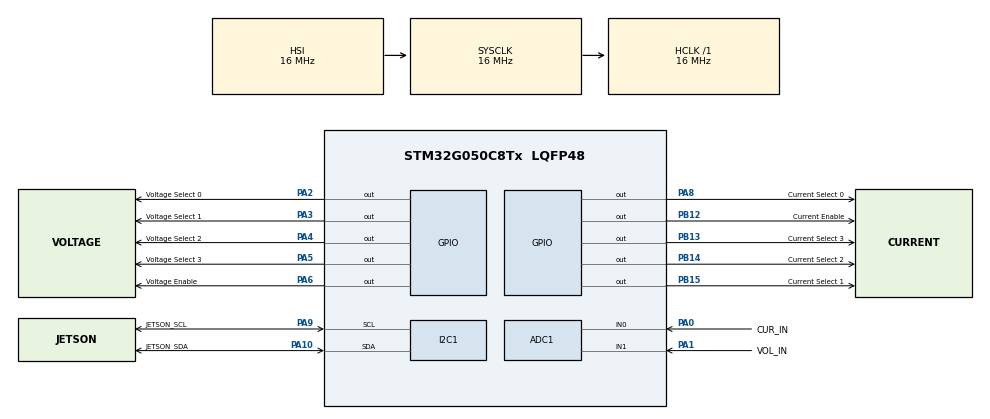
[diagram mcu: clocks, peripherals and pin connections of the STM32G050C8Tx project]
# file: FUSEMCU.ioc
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ADC1.Channel-0\#ChannelRegularConversion=ADC_CHANNEL_0
ADC1.NbrOfConversionFlag=1
ADC1.Rank-0\#ChannelRegularConversion=1
ADC1.SamplingTime-0\#ChannelRegularConversion=ADC_SAMPLINGTIME_COMMON_1
ADC1.SelectedChannel=ADC_CHANNEL_0|ADC_CHANNEL_1
ADC1.master=1
Dma.ADC1.0.Direction=DMA_PERIPH_TO_MEMORY
Dma.ADC1.0.EventEnable=DISABLE
Dma.ADC1.0.Instance=DMA1_Channel1
Dma.ADC1.0.MemDataAlignment=DMA_MDATAALIGN_HALFWORD
Dma.ADC1.0.MemInc=DMA_MINC_ENABLE
Dma.ADC1.0.Mode=DMA_CIRCULAR
Dma.ADC1.0.PeriphDataAlignment=DMA_PDATAALIGN_HALFWORD
Dma.ADC1.0.PeriphInc=DMA_PINC_DISABLE
Dma.ADC1.0.Polarity=HAL_DMAMUX_REQ_GEN_RISING
Dma.ADC1.0.Priority=DMA_PRIORITY_LOW
Dma.ADC1.0.RequestNumber=1
Dma.ADC1.0.SignalID=NONE
Dma.ADC1.0.SyncEnable=DISABLE
Dma.ADC1.0.SyncPolarity=HAL_DMAMUX_SYNC_NO_EVENT
Dma.ADC1.0.SyncRequestNumber=1
Dma.ADC1.0.SyncSignalID=NONE
Dma.Request0=ADC1
Mcu.Family=STM32G0
Mcu.Name=STM32G050C8Tx
Mcu.Package=LQFP48
NVIC.DMA1_Channel1_IRQn=true\:0\:0\:false\:false\:true\:false\:true\:true
PA0.GPIO_Label=CUR_IN
PA0.Mode=IN0
PA0.Signal=ADC1_IN0
PA1.GPIO_Label=VOL_IN
PA1.Mode=IN1
PA1.Signal=ADC1_IN1
PA10.GPIO_Label=JETSON_SDA
PA10.Mode=I2C
PA10.Signal=I2C1_SDA
PA13.Mode=Serial_Wire
PA13.Signal=SYS_SWDIO
PA14-BOOT0.Mode=Serial_Wire
PA14-BOOT0.Signal=SYS_SWCLK
PA2.GPIO_Label=Voltage Select 0
PA2.Signal=GPIO_Output
PA3.GPIO_Label=Voltage Select 1
PA3.Signal=GPIO_Output
PA4.GPIO_Label=Voltage Select 2
PA4.Signal=GPIO_Output
PA5.GPIO_Label=Voltage Select 3
PA5.Signal=GPIO_Output
PA6.GPIO_Label=Voltage Enable
PA6.Signal=GPIO_Output
PA8.GPIO_Label=Current Select 0
PA8.Signal=GPIO_Output
PA9.GPIO_Label=JETSON_SCL
PA9.Mode=I2C
PA9.Signal=I2C1_SCL
PB12.GPIO_Label=Current Enable
PB12.Signal=GPIO_Output
PB13.GPIO_Label=Current Select 3
PB13.Signal=GPIO_Output
PB14.GPIO_Label=Current Select 2
PB14.Signal=GPIO_Output
PB15.GPIO_Label=Current Select 1
PB15.Signal=GPIO_Output
ProjectManager.HeapSize=0x200
ProjectManager.StackSize=0x400
ProjectManager.TargetToolchain=STM32CubeIDE
RCC.AHBFreq_Value=16000000
RCC.CortexFreq_Value=16000000
RCC.EXTERNAL_CLOCK_VALUE=48000
RCC.HCLKFreq_Value=16000000
RCC.HSE_VALUE=8000000
RCC.HSI_VALUE=16000000
RCC.LSE_VALUE=32768
RCC.SYSCLKFreq_VALUE=16000000
RCC.VCOOutputFreq_Value=128000000
VP_SYS_VS_DBSignals.Mode=DisableDeadBatterySignals
board=custom

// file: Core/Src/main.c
/* USER CODE BEGIN Header */
/**
  ******************************************************************************
  * @file           : main.c
  * @brief          : Main program body
  ******************************************************************************
  * @attention
  *
  * <h2><center>&copy; Copyright (c) 2022 STMicroelectronics.
  * All rights reserved.</center></h2>
  *
  * This software component is licensed by ST under BSD 3-Clause license,
  * the "License"; You may not use this file except in compliance with the
  * License. You may obtain a copy of the License at:
  *                        opensource.org/licenses/BSD-3-Clause
  *
  ******************************************************************************
  */
/* USER CODE END Header */
#include "main.h"
#include "analog.h"

/* USER CODE BEGIN PM */

#define ANALOG_ENABLE

/* USER CODE END PM */

 ADC_HandleTypeDef hadc1;
DMA_HandleTypeDef hdma_adc1;

I2C_HandleTypeDef hi2c1;

/* USER CODE BEGIN PV */

#ifdef ANALOG_ENABLE

 enum {
 	VOLTAGE_0 = 0,
 	VOLTAGE_1 = 1,
 	VOLTAGE_2 = 2,
	VOLTAGE_3 = 3,
	VOLTAGE_4 = 4,
	VOLTAGE_5 = 5,
	VOLTAGE_6 = 6,
	VOLTAGE_7 = 7,
	VOLTAGE_8 = 8,
	VOLTAGE_9 = 9,
	VOLTAGE_10 = 10,
	VOLTAGE_11 = 11
 };

enum {
	CURRENT_0 = 0,
	CURRENT_1 = 1,
	CURRENT_2 = 2,
	CURRENT_3 = 3,
	CURRENT_4 = 4,
	CURRENT_5 = 5,
	CURRENT_6 = 6,
	CURRENT_7 = 7,
	CURRENT_8 = 8,
	CURRENT_9 = 9,
	CURRENT_10 = 10,
	CURRENT_11 = 11
};

Analog* voltage_channels[VOLTAGE_DEVICES];
Analog* current_channels[CURRENT_DEVICES];

// Voltage, Current Data
float vd[VOLTAGE_DEVICES];
float cd[CURRENT_DEVICES];

#endif

/* USER CODE END PV */

void SystemClock_Config(void);
static void MX_GPIO_Init(void);
static void MX_I2C1_Init(void);
static void MX_DMA_Init(void);
static void MX_ADC1_Init(void);
/* USER CODE BEGIN PFP */

#ifdef ANALOG_ENABLE

// EFFECTS: select analog channel
void select_analog_channel(const Analog* analog_device);

// EFFECTS: get analog data in the following format
// FORMAT: $CURRENT,<c0>,<c1>,<c2> and $VOLTAGE,<v0>,<v1>,<v2>
void get_analog_data();

// EFFECTS: send current data in the following format
// FORMAT: $CURRENT,<c0>,<c1>,<c2>
void send_current_data();

// EFFECTS: send voltage data in the following format
// FORMAT: $VOLTAGE,<v0>,<v1>,<v2>
void send_voltage_data();

#endif

/* USER CODE END PFP */

/* USER CODE BEGIN 0 */

#ifdef ANALOG_ENABLE

// EFFECTS: select voltage channel
// TODO: fix this for fuse
void select_voltage_channel(const Analog* analog_device) {
	HAL_GPIO_WritePin(Voltage_Select_0_GPIO_Port, Voltage_Select_0_Pin, analog_device->select_pins[0]); //v select 0
	HAL_GPIO_WritePin(Voltage_Select_1_GPIO_Port, Voltage_Select_1_Pin, analog_device->select_pins[1]); //v select 1
	HAL_GPIO_WritePin(Voltage_Select_2_GPIO_Port, Voltage_Select_2_Pin, analog_device->select_pins[2]); //v select 2
	HAL_GPIO_WritePin(Voltage_Select_3_GPIO_Port, Voltage_Select_3_Pin, analog_device->select_pins[3]); //v select 3
	HAL_GPIO_WritePin(Voltage_Enable_GPIO_Port, Voltage_Enable_Pin,  1); //ENABLE
}

// EFFECTS: select current channel
// TODO: fix this for fuse AAAAAAAAAAAAAAAAAAAAAAAAAAAAAAAAa
void select_current_channel(const Analog* analog_device) {
	HAL_GPIO_WritePin(Current_Enable_GPIO_Port, Current_Enable_Pin, analog_device->select_pins[0]); //c select 0
	HAL_GPIO_WritePin(Current_Select_3_GPIO_Port, Current_Select_3_Pin, analog_device->select_pins[1]); //c select 1
	HAL_GPIO_WritePin(Current_Select_2_GPIO_Port, Current_Select_2_Pin, analog_device->select_pins[2]); //c select 2
	HAL_GPIO_WritePin(Current_Select_1_GPIO_Port, Current_Select_1_Pin, analog_device->select_pins[3]); //c select 3
	HAL_GPIO_WritePin(Current_Select_0_GPIO_Port, Current_Select_0_Pin,  1); //ENABLE
}

// EFFECTS: get analog data in the following format
// FORMAT: $CURRENT,<c0>,<c1>,<c2> and $VOLTAGE,<v0>,<v1>,<v2>
void get_analog_data() {

    for (int i = 0; i < VOLTAGE_DEVICES; ++i) {
    	const Analog* analog_device = voltage_channels[i];
    	select_voltage_channel(analog_device);
    	vd[i] = get_voltage_data(analog_device);
	}

    for (int i = 0; i < CURRENT_DEVICES; ++i) {
    	const Analog* analog_device = current_channels[i];
    	select_current_channel(analog_device);
    	cd[i] = get_current_data(analog_device);
    }

}

// EFFECTS: send current data in the following format
// FORMAT: $CURRENT,<c0>,<c1>,<c2>
void send_current_data() {

	// TODO - verify that we are sending i2c messages properly
	// Total length of output of string $CURRENT,x,x,x
	uint8_t buffer[50] = "";

	sprintf((char *)buffer, "$CURRENT,%f,%f,%f\r\n",\
			cd[0], cd[1], cd[2], cd[3], \
			cd[4], cd[5], cd[6], cd[7], \
			cd[8], cd[9], cd[10], cd[11]);

	HAL_I2C_Slave_Seq_Transmit_IT(&hi2c1, buffer, sizeof(buffer), I2C_LAST_FRAME);
}

// EFFECTS: send analog data in the following format
// FORMAT: $VOLTAGE,<v0>,<v1>,<v2>
void send_voltage_data() {

	// TODO - verify that we are sending i2c messages properly
	// Total length of output of string $VOLTAGE,x,x,x
	uint8_t buffer[50] = "";

	sprintf((char *)buffer, "$VOLTAGE,%f,%f,%f\r\n",\
			vd[0], vd[1], vd[2], vd[3], \
			vd[4], vd[5], vd[6], vd[7], \
			vd[8], vd[9], vd[10], vd[11]);

	HAL_I2C_Slave_Seq_Transmit_IT(&hi2c1, buffer, sizeof(buffer), I2C_LAST_FRAME);
}

#endif

/* USER CODE END 0 */

int main(void)
{

  /* MCU Configuration--------------------------------------------------------*/

  /* Reset of all peripherals, Initializes the Flash interface and the Systick. */
  HAL_Init();

  /* USER CODE BEGIN Init */

#ifdef ANALOG_ENABLE

// The numbered parameters going into new_analog is the device number in binary
// ex: device 5 is 0,1,0,1
// Creates a new analog device for each voltage, current device
// Takes in device "id" into the function

for (int i = 0; i < 12; ++i) {
	current_channels[i] = new_analog(&hadc1, i | 0b1000, i | 0b0100, i | 0b0010, i | 0b0001);
	voltage_channels[i] = new_analog(&hadc1, i | 0b1000, i | 0b0100, i | 0b0010, i | 0b0001);
}

#endif

  /* USER CODE END Init */

  /* Configure the system clock */
  SystemClock_Config();

  /* Initialize all configured peripherals */
  MX_GPIO_Init();
  MX_I2C1_Init();
  MX_DMA_Init();
  MX_ADC1_Init();

  /* Infinite loop */
  while (1)
  {

    /* USER CODE BEGIN 3 */

	#ifdef ANALOG_ENABLE
		  get_analog_data();
		  send_current_data();
		  send_voltage_data();
	#endif

  }
  /* USER CODE END 3 */
}

void SystemClock_Config(void)
{
  RCC_OscInitTypeDef RCC_OscInitStruct = {0};
  RCC_ClkInitTypeDef RCC_ClkInitStruct = {0};

  /** Configure the main internal regulator output voltage
  */
  HAL_PWREx_ControlVoltageScaling(PWR_REGULATOR_VOLTAGE_SCALE1);

  /** Initializes the RCC Oscillators according to the specified parameters
  * in the RCC_OscInitTypeDef structure.
  */
  RCC_OscInitStruct.OscillatorType = RCC_OSCILLATORTYPE_HSI;
  RCC_OscInitStruct.HSIState = RCC_HSI_ON;
  RCC_OscInitStruct.HSIDiv = RCC_HSI_DIV1;
  RCC_OscInitStruct.HSICalibrationValue = RCC_HSICALIBRATION_DEFAULT;
  RCC_OscInitStruct.PLL.PLLState = RCC_PLL_NONE;
  if (HAL_RCC_OscConfig(&RCC_OscInitStruct) != HAL_OK)
  {
    Error_Handler();
  }

  /** Initializes the CPU, AHB and APB buses clocks
  */
  RCC_ClkInitStruct.ClockType = RCC_CLOCKTYPE_HCLK|RCC_CLOCKTYPE_SYSCLK
                              |RCC_CLOCKTYPE_PCLK1;
  RCC_ClkInitStruct.SYSCLKSource = RCC_SYSCLKSOURCE_HSI;
  RCC_ClkInitStruct.AHBCLKDivider = RCC_SYSCLK_DIV1;
  RCC_ClkInitStruct.APB1CLKDivider = RCC_HCLK_DIV1;

  if (HAL_RCC_ClockConfig(&RCC_ClkInitStruct, FLASH_LATENCY_0) != HAL_OK)
  {
    Error_Handler();
  }
}

static void MX_ADC1_Init(void)
{

  ADC_ChannelConfTypeDef sConfig = {0};

  /** Configure the global features of the ADC (Clock, Resolution, Data Alignment and number of conversion)
  */
  hadc1.Instance = ADC1;
  hadc1.Init.ClockPrescaler = ADC_CLOCK_SYNC_PCLK_DIV2;
  hadc1.Init.Resolution = ADC_RESOLUTION_12B;
  hadc1.Init.DataAlign = ADC_DATAALIGN_RIGHT;
  hadc1.Init.ScanConvMode = ADC_SCAN_DISABLE;
  hadc1.Init.EOCSelection = ADC_EOC_SINGLE_CONV;
  hadc1.Init.LowPowerAutoWait = DISABLE;
  hadc1.Init.LowPowerAutoPowerOff = DISABLE;
  hadc1.Init.ContinuousConvMode = DISABLE;
  hadc1.Init.NbrOfConversion = 1;
  hadc1.Init.ExternalTrigConv = ADC_SOFTWARE_START;
  hadc1.Init.ExternalTrigConvEdge = ADC_EXTERNALTRIGCONVEDGE_NONE;
  hadc1.Init.DMAContinuousRequests = DISABLE;
  hadc1.Init.Overrun = ADC_OVR_DATA_PRESERVED;
  hadc1.Init.SamplingTimeCommon1 = ADC_SAMPLETIME_1CYCLE_5;
  hadc1.Init.SamplingTimeCommon2 = ADC_SAMPLETIME_1CYCLE_5;
  hadc1.Init.OversamplingMode = DISABLE;
  hadc1.Init.TriggerFrequencyMode = ADC_TRIGGER_FREQ_HIGH;
  if (HAL_ADC_Init(&hadc1) != HAL_OK)
  {
    Error_Handler();
  }

  /** Configure Regular Channel
  */
  sConfig.Channel = ADC_CHANNEL_0;
  sConfig.Rank = ADC_REGULAR_RANK_1;
  sConfig.SamplingTime = ADC_SAMPLINGTIME_COMMON_1;
  if (HAL_ADC_ConfigChannel(&hadc1, &sConfig) != HAL_OK)
  {
    Error_Handler();
  }

}

static void MX_I2C1_Init(void)
{

  hi2c1.Instance = I2C1;
  hi2c1.Init.Timing = 0x00303D5B;
  hi2c1.Init.OwnAddress1 = 0;
  hi2c1.Init.AddressingMode = I2C_ADDRESSINGMODE_7BIT;
  hi2c1.Init.DualAddressMode = I2C_DUALADDRESS_DISABLE;
  hi2c1.Init.OwnAddress2 = 0;
  hi2c1.Init.OwnAddress2Masks = I2C_OA2_NOMASK;
  hi2c1.Init.GeneralCallMode = I2C_GENERALCALL_DISABLE;
  hi2c1.Init.NoStretchMode = I2C_NOSTRETCH_DISABLE;
  if (HAL_I2C_Init(&hi2c1) != HAL_OK)
  {
    Error_Handler();
  }

  /** Configure Analogue filter
  */
  if (HAL_I2CEx_ConfigAnalogFilter(&hi2c1, I2C_ANALOGFILTER_ENABLE) != HAL_OK)
  {
    Error_Handler();
  }

  /** Configure Digital filter
  */
  if (HAL_I2CEx_ConfigDigitalFilter(&hi2c1, 0) != HAL_OK)
  {
    Error_Handler();
  }

}

static void MX_DMA_Init(void)
{

  /* DMA controller clock enable */
  __HAL_RCC_DMA1_CLK_ENABLE();

  /* DMA interrupt init */
  /* DMA1_Channel1_IRQn interrupt configuration */
  HAL_NVIC_SetPriority(DMA1_Channel1_IRQn, 0, 0);
  HAL_NVIC_EnableIRQ(DMA1_Channel1_IRQn);

}

static void MX_GPIO_Init(void)
{
  GPIO_InitTypeDef GPIO_InitStruct = {0};

  /* GPIO Ports Clock Enable */
  __HAL_RCC_GPIOA_CLK_ENABLE();
  __HAL_RCC_GPIOB_CLK_ENABLE();

  /*Configure GPIO pin Output Level */
  HAL_GPIO_WritePin(GPIOA, Voltage_Select_0_Pin|Voltage_Select_1_Pin|Voltage_Select_2_Pin|Voltage_Select_3_Pin
                          |Voltage_Enable_Pin|Current_Select_0_Pin, GPIO_PIN_RESET);

  /*Configure GPIO pin Output Level */
  HAL_GPIO_WritePin(GPIOB, Current_Enable_Pin|Current_Select_3_Pin|Current_Select_2_Pin|Current_Select_1_Pin, GPIO_PIN_RESET);

  /*Configure GPIO pins : Voltage_Select_0_Pin Voltage_Select_1_Pin Voltage_Select_2_Pin Voltage_Select_3_Pin
                           Voltage_Enable_Pin Current_Select_0_Pin */
  GPIO_InitStruct.Pin = Voltage_Select_0_Pin|Voltage_Select_1_Pin|Voltage_Select_2_Pin|Voltage_Select_3_Pin
                          |Voltage_Enable_Pin|Current_Select_0_Pin;
  GPIO_InitStruct.Mode = GPIO_MODE_OUTPUT_PP;
  GPIO_InitStruct.Pull = GPIO_NOPULL;
  GPIO_InitStruct.Speed = GPIO_SPEED_FREQ_LOW;
  HAL_GPIO_Init(GPIOA, &GPIO_InitStruct);

  /*Configure GPIO pins : Current_Enable_Pin Current_Select_3_Pin Current_Select_2_Pin Current_Select_1_Pin */
  GPIO_InitStruct.Pin = Current_Enable_Pin|Current_Select_3_Pin|Current_Select_2_Pin|Current_Select_1_Pin;
  GPIO_InitStruct.Mode = GPIO_MODE_OUTPUT_PP;
  GPIO_InitStruct.Pull = GPIO_NOPULL;
  GPIO_InitStruct.Speed = GPIO_SPEED_FREQ_LOW;
  HAL_GPIO_Init(GPIOB, &GPIO_InitStruct);

}

void Error_Handler(void)
{
  __disable_irq();
  while (1)
  {
  }
}
